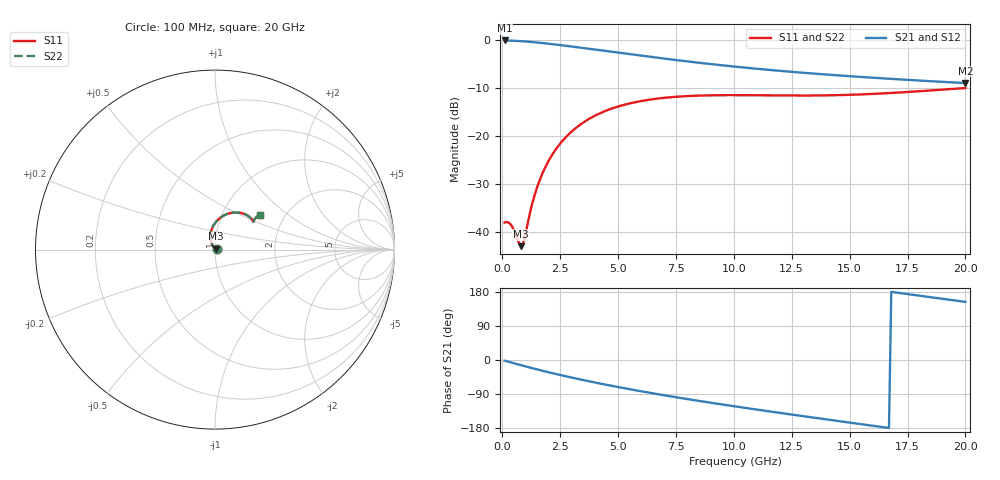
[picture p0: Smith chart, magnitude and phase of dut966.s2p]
! Touchstone file exported from HFSS 2024.1.0
!  File:  C:/UserFiles/LocalFiles/RDL_TSV_Batchsim/temp_RDL_TSV_966_1779970054.aedt
!  Generated:  08:22:51 PM May 28, 2026
!  Design:  RDL_TSV
!  Project:  temp_RDL_TSV_966_1779970054
!  Setup:  Setup1
!  Solution:  Sweep
! Variables:
!  dtsv = 8.02um
!  hbump = 3um
!  htsv = 94.21um
!  ldown = 107.53um
!  lrdl = 628.21um
!  p = 40
!  p1 = 42.68um
!  rhole = 10um
!  subl = 2835.43um
!  t = 450um
!  tdown = 3.23um
!  trdl = 4.5um
!  viad = 10um
!  wdown = 26.47um
!  wrdl = 19.19um
!  xbump = 18um
# GHz S MA R 50.000000
! Terminal data exported
! Port[1] = TM1_1_T1
! Port[2] = TM1_4_T1
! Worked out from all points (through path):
!   200 points, 100 MHz to 20 GHz, reference 50 ohm
!   highest |S21| = -0.12 dB at 100 MHz (marker M1); lowest = -9.0 dB at 20 GHz (marker M2)
!   group delay of S21, straight-line fit = 27.2 ps
!   lowest |S11| = -43.0 dB at 800 MHz (marker M3), VSWR 1.01, Z = 50.4 + j0.573 ohm
!   |S11| at or under -10 dB: start of sweep to end of sweep
!   |S22| runs from -43.2 to -10.0 dB; largest |S21 - S12| = 9.1e-15
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0.1  0.01252 4.5  0.9861 -1.8  0.9861 -1.8  0.01251 4.4
! Gamma 0 0 0 0
! Port Impedance 50 0 50 0
0.3  0.01239 9.1  0.983 -5.2  0.983 -5.2  0.01236 8.8
0.4  0.01164 11.2  0.981 -6.9  0.981 -6.9  0.0116 10.9
0.8  0.007091 53.3  0.97 -13.6  0.97 -13.6  0.006944 53.1
0.9  0.007576 76.2  0.9664 -15.2  0.9664 -15.2  0.007416 76.5
1.2  0.01588 112.6  0.954 -20.1  0.954 -20.1  0.01576 113.2
1.4  0.02427 117.8  0.9445 -23.2  0.9445 -23.2  0.02417 118.4
1.6  0.03378 118.5  0.9343 -26.3  0.9343 -26.3  0.0337 119.0
1.9  0.04942 116.2  0.9178 -30.9  0.9178 -30.9  0.04934 116.6
2.2  0.06602 112.3  0.9004 -35.3  0.9004 -35.3  0.06596 112.7
2.6  0.08872 106.3  0.8765 -41.0  0.8765 -41.0  0.08868 106.6
3  0.1112 100.2  0.8522 -46.5  0.8522 -46.5  0.1111 100.4
3.5  0.1378 92.7  0.8221 -53.0  0.8221 -53.0  0.1378 92.9
4.2  0.171 83.1  0.781 -61.8  0.781 -61.8  0.1711 83.3
4.9  0.1986 74.6  0.7416 -70.2  0.7416 -70.2  0.1988 74.8
6.8  0.2461 56.6  0.6466 -91.1  0.6466 -91.1  0.2463 56.8
8.4  0.2621 46.5  0.581 -107.1  0.581 -107.1  0.2624 46.6
10.1  0.2656 39.8  0.5248 -122.9  0.5248 -122.9  0.2659 39.9
11.7  0.2638 36.6  0.4825 -137.1  0.4825 -137.1  0.2642 36.7
13.4  0.2632 35.8  0.4463 -151.7  0.4463 -151.7  0.2636 35.9
16.7  0.279 37.5  0.3935 -179.4  0.3935 -179.4  0.2795 37.7
20  0.3149 37.6  0.3547 153.3  0.3547 153.3  0.3157 37.7
